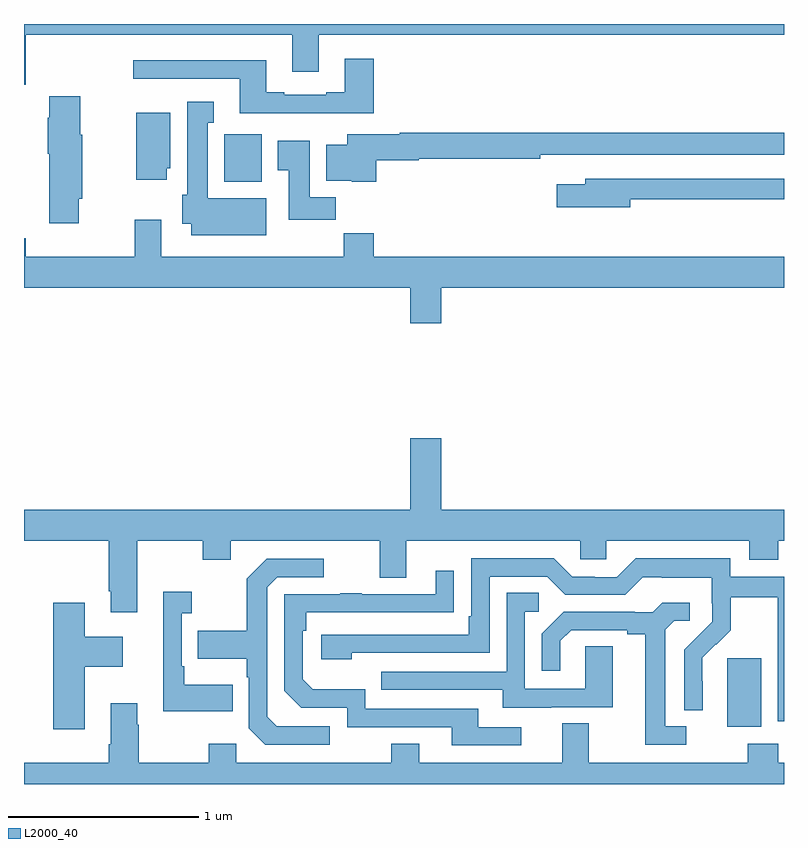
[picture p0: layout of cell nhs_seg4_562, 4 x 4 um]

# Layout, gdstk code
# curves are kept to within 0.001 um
import gdstk
lib = gdstk.Library(unit=1e-6, precision=1e-09)
def R(c, l, rs):  # rectangles x0, y0, x1, y1
    for r in rs: c.add(gdstk.rectangle(r[:2], r[2:], *l))
def P(c, l, *ps):  # polygons
    for p in ps: c.add(gdstk.Polygon(p, *l))
L2000_40 = (2000, 40)

nhs_seg4_562 = lib.new_cell('nhs_seg4_562')
R(nhs_seg4_562, L2000_40, [(142.7,769.202,142.879,769.563), (140.055,772.07,140.251,772.32)])
P(nhs_seg4_562, L2000_40, [(139.01,772.844),(140.411,772.844),(140.411,772.65),(140.551,772.65),(140.551,772.844),(143,772.844),(143,772.9),(139,772.9),(139,772.579),(139.01,772.579)],
  [(140.84,772.717),(140.687,772.717),(140.687,772.54),(140.591,772.54),(140.591,772.527),(140.371,772.527),(140.371,772.54),(140.275,772.54),(140.275,772.708),(139.575,772.708),(139.575,772.611),(140.135,772.611),(140.135,772.43),(140.84,772.43)],
  [(139.288,771.981),(139.306,771.981),(139.306,772.317),(139.296,772.317),(139.296,772.519),(139.133,772.519),(139.133,772.406),(139.126,772.406),(139.126,772.217),(139.133,772.217),(139.133,771.852),(139.288,771.852)],
  [(140.275,771.982),(139.966,771.982),(139.966,772.379),(139.999,772.379),(139.999,772.492),(139.859,772.492),(139.859,772.002),(139.832,772.002),(139.832,771.848),(139.88,771.848),(139.88,771.788),(140.275,771.788)],
  [(139.75,772.14),(139.771,772.14),(139.771,772.432),(139.592,772.432),(139.592,772.08),(139.75,772.08)],
  [(140.855,772.184),(141.078,772.184),(141.078,772.192),(141.716,772.192),(141.716,772.212),(143,772.212),(143,772.328),(140.978,772.328),(140.978,772.321),(140.702,772.321),(140.702,772.264),(140.591,772.264),(140.591,772.076),(140.724,772.076),(140.724,772.07),(140.855,772.07)],
  [(140.642,771.988),(140.503,771.988),(140.503,772.285),(140.336,772.285),(140.336,772.129),(140.393,772.129),(140.393,771.87),(140.642,771.87)],
  [(142.192,771.978),(143,771.978),(143,772.086),(141.953,772.086),(141.953,772.057),(141.804,772.057),(141.804,771.935),(142.192,771.935)],
  [(141.196,771.512),(143,771.512),(143,771.676),(140.84,771.676),(140.84,771.8),(140.683,771.8),(140.683,771.676),(139.723,771.676),(139.723,771.871),(139.583,771.871),(139.583,771.676),(139.01,771.676),(139.01,771.772),(139,771.772),(139,771.512),(141.032,771.512),(141.032,771.324),(141.196,771.324)],
  [(139.597,770.18),(139.942,770.18),(139.942,770.081),(140.089,770.081),(140.089,770.18),(140.873,770.18),(140.873,769.986),(141.013,769.986),(141.013,770.18),(141.927,770.18),(141.927,770.082),(142.065,770.082),(142.065,770.18),(142.817,770.18),(142.817,770.081),(142.97,770.081),(142.97,770.18),(143,770.18),(143,770.344),(141.196,770.344),(141.196,770.719),(141.032,770.719),(141.032,770.344),(139,770.344),(139,770.18),(139.445,770.18),(139.445,769.915),(139.457,769.915),(139.457,769.803),(139.597,769.803)],
  [(143,769.992),(142.716,769.992),(142.716,770.089),(142.219,770.089),(142.119,769.989),(142.004,769.989),(142.004,769.992),(141.885,769.992),(141.789,770.088),(141.354,770.088),(141.354,769.783),(141.341,769.783),(141.341,769.686),(140.565,769.686),(140.565,769.556),(140.726,769.556),(140.726,769.59),(141.45,769.59),(141.45,769.992),(141.753,769.992),(141.849,769.896),(142.164,769.896),(142.257,769.989),(142.357,769.989),(142.357,769.985),(142.62,769.985),(142.62,769.851),(142.622,769.851),(142.622,769.754),(142.476,769.606),(142.476,769.288),(142.572,769.288),(142.571,769.565),(142.641,769.635),(142.644,769.632),(142.721,769.709),(142.721,769.884),(142.966,769.884),(142.966,769.66),(142.968,769.66),(142.968,769.231),(143,769.231)],
  [(140.608,769.203),(140.331,769.203),(140.28,769.254),(140.28,769.935),(140.334,769.989),(140.578,769.989),(140.578,770.085),(140.277,770.085),(140.172,769.979),(140.172,769.707),(139.915,769.707),(139.915,769.559),(140.172,769.559),(140.172,769.463),(140.184,769.463),(140.184,769.194),(140.271,769.107),(140.608,769.107)],
  [(141.616,769.2),(141.391,769.2),(141.391,769.296),(140.796,769.296),(140.796,769.399),(140.519,769.399),(140.466,769.452),(140.466,769.706),(140.486,769.706),(140.486,769.803),(141.263,769.804),(141.263,770.023),(141.167,770.023),(141.167,769.899),(140.777,769.899),(140.777,769.904),(140.665,769.904),(140.665,769.899),(140.37,769.899),(140.37,769.392),(140.46,769.302),(140.7,769.302),(140.7,769.2),(141.251,769.2),(141.251,769.104),(141.616,769.104)],
  [(140.099,769.423),(139.843,769.423),(139.843,769.519),(139.83,769.519),(139.83,769.799),(139.882,769.799),(139.882,769.912),(139.733,769.912),(139.733,769.283),(140.099,769.283)],
  [(141.775,769.305),(142.099,769.305),(142.099,769.625),(141.954,769.625),(141.954,769.401),(141.636,769.401),(141.636,769.806),(141.709,769.806),(141.709,769.907),(141.54,769.907),(141.54,769.491),(140.881,769.491),(140.881,769.395),(141.521,769.395),(141.521,769.301),(141.775,769.301)],
  [(142.486,769.203),(142.375,769.203),(142.375,769.711),(142.422,769.758),(142.504,769.758),(142.504,769.855),(142.36,769.855),(142.308,769.803),(142.214,769.803),(142.214,769.806),(141.842,769.806),(141.726,769.69),(141.726,769.497),(141.823,769.497),(141.823,769.653),(141.88,769.71),(142.175,769.71),(142.175,769.688),(142.271,769.688),(142.271,769.107),(142.486,769.107)],
  [(139.321,769.517),(139.519,769.517),(139.519,769.675),(139.321,769.675),(139.321,769.855),(139.154,769.855),(139.154,769.188),(139.321,769.188)],
  [(143,769.012),(142.97,769.012),(142.97,769.111),(142.81,769.111),(142.81,769.012),(141.973,769.012),(141.973,769.22),(141.833,769.22),(141.833,769.012),(141.079,769.012),(141.079,769.111),(140.932,769.111),(140.932,769.012),(140.118,769.012),(140.118,769.111),(139.972,769.111),(139.972,769.012),(139.605,769.012),(139.605,769.211),(139.597,769.211),(139.597,769.324),(139.457,769.324),(139.457,769.108),(139.445,769.108),(139.445,769.012),(139,769.012),(139,768.9),(143,768.9)])

lib.write_gds('nhs_seg4_562.gds')
